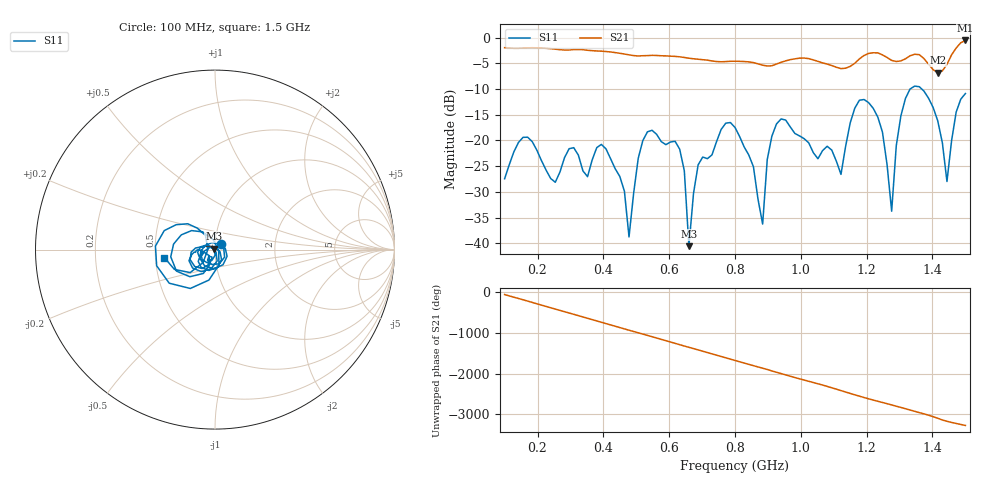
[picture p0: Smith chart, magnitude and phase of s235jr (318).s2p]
! NanoVNA-App
! Date: 2025-09-25 15:06:38
! Start: 100MHz Stop: 1,5GHz Points: 101
! S-Parameter data: F S11 S21 S12 S22
# Hz S RI R 50
!  Frequency  S11_Real  S11_Imag  S21_Real  S21_Imag  S12_Real  S12_Imag  S22_Real  S22_Imag
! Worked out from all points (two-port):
!   101 points, 100 MHz to 1.5 GHz, reference 50 ohm
!   highest |S21| = -0.56 dB at 1.5 GHz (marker M1); lowest = -6.8 dB at 1.416 GHz (marker M2)
!   |S21| within 3 dB of the highest: start of sweep to 502.4 MHz; 511.4 MHz to 590.5 MHz (79.05 MHz wide, 14.3 % of centre) (the widest 2 of 5)
!   lowest |S11| = -40.6 dB at 660 MHz (marker M3), VSWR 1.02, Z = 49.3 + j0.582 ohm
!   |S11| at or under -10 dB: start of sweep to 1.332 GHz; 1.367 GHz to end of sweep
!   S12 and S22 are empty: the file has one direction only
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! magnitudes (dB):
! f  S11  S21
! 100 MHz  -27.5  -2.0
! 156 MHz  -19.4  -2.0
! 338 MHz  -25.9  -2.4
! 408 MHz  -21.6  -2.7
! 478 MHz  -38.8  -3.4
! 520 MHz  -20.0  -3.5
! 576 MHz  -20.2  -3.5
! 632 MHz  -21.7  -3.7
! 660 MHz  -40.6  -4.0
! 688 MHz  -24.8  -4.2
! 800 MHz  -17.5  -4.6
! 884 MHz  -36.3  -5.4
! 926 MHz  -16.8  -5.1
! 1.038 GHz  -22.4  -4.3
! 1.122 GHz  -26.6  -6.0
! 1.206 GHz  -12.7  -3.1
! 1.248 GHz  -18.4  -3.4
! 1.276 GHz  -33.8  -4.4
! 1.332 GHz  -10.0  -3.5
! 1.416 GHz  -16.2  -6.8
! 1.444 GHz  -28.0  -5.2
! 1.5 GHz  -10.9  -0.6
